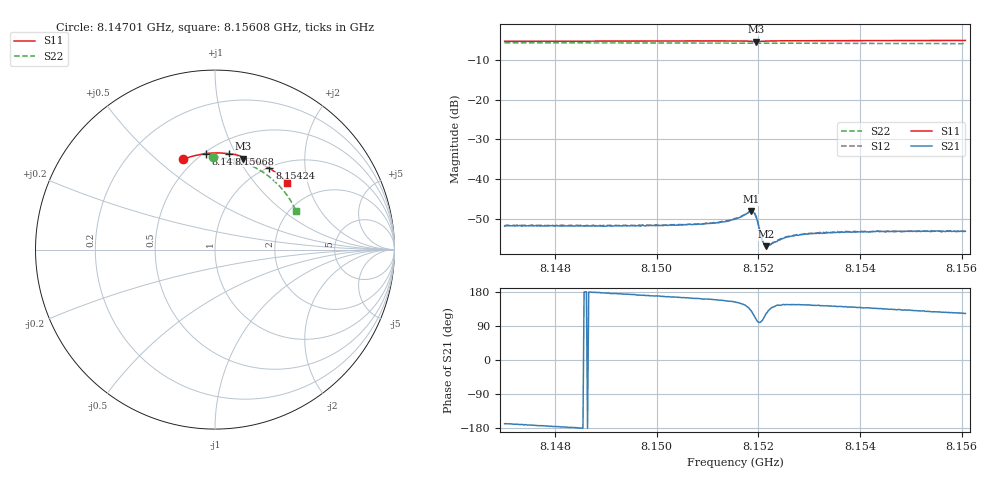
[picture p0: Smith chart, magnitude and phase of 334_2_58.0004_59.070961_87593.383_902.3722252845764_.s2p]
#  HZ  S  RI  R  50.00
! Rohde & Schwarz Vector Network Analyzer
! Rohde-Schwarz,ZNB20-2Port,1311601062101988,3.16
! Created: UTC 3/21/2024, 1:05:14 AM
! freq[Hz]  re:S11  im:S11  re:S21  im:S21  re:S12  im:S12  re:S22  im:S22
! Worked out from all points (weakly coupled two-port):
!   401 points, 8.14701 GHz to 8.15608 GHz, reference 50 ohm
!   highest |S21| = -47.92 dB at 8.15186 GHz (marker M1); lowest = -56.7 dB at 8.15216 GHz (marker M2)
!   lowest |S11| = -5.5 dB at 8.15195 GHz (marker M3), VSWR 3.26, Z = 37.2 + j52.4 ohm
!   |S11| at or under -10 dB: nowhere
!   |S22| runs from -6.0 to -5.8 dB; largest |S21 - S12| = 0.00012
!   S11 on the Smith chart (normalised r, x): 8.14701 GHz: 0.44, +0.62; 8.14885 GHz: 0.51, +0.77; 8.15068 GHz: 0.62, +0.94; 8.15424 GHz: 1.02, +1.31; 8.15608 GHz: 1.40, +1.50
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8.14701e9  -0.1762 0.5039  -0.00255 -0.000529  -0.00263 -0.000513  -0.00876 0.5134
8.148529e9  -0.0739 0.5315  -0.00263 -1.25e-05  -0.00268 5.61e-05  0.09 0.5039
8.148846e9  -0.052 0.5348  -0.0026 9.05e-05  -0.00262 0.000138  0.1099 0.4995
8.150047e9  0.0317 0.5384  -0.0026 0.000505  -0.0026 0.000567  0.1838 0.4754
8.150682e9  0.0757 0.535  -0.00262 0.000779  -0.00261 0.000825  0.2209 0.4585
8.15118e9  0.1107 0.5296  -0.00268 0.00105  -0.00269 0.00111  0.2489 0.443
8.151543e9  0.1364 0.5233  -0.00285 0.00143  -0.00286 0.00152  0.2685 0.4308
8.15186e9  0.158 0.5106  -0.00257 0.00309  -0.00251 0.00311  0.285 0.4191
8.151906e9  0.1586 0.5075  -0.00194 0.00339  -0.00194 0.00347  0.2872 0.4174
8.151951e9  0.1577 0.5064  -0.00112 0.0033  -0.00108 0.00337  0.2894 0.4156
8.152087e9  0.1621 0.5112  -0.000454 0.00164  -0.00044 0.00163  0.2962 0.4107
8.152132e9  0.1657 0.512  -0.000683 0.00136  -0.00066 0.00136  0.2985 0.4091
8.152155e9  0.1676 0.512  -0.000785 0.00124  -0.000739 0.00128  0.2999 0.4084
8.1522e9  0.1713 0.5119  -0.000977 0.00114  -0.000926 0.00116  0.302 0.4065
8.15245e9  0.1903 0.5077  -0.00148 0.00104  -0.00147 0.00104  0.3145 0.3966
8.152563e9  0.198 0.5052  -0.00159 0.00106  -0.0016 0.00107  0.3199 0.3919
8.152744e9  0.2103 0.5007  -0.00166 0.00112  -0.00167 0.00115  0.3286 0.3844
8.153062e9  0.231 0.4921  -0.00171 0.00122  -0.0017 0.00124  0.3432 0.3706
8.153764e9  0.2749 0.4706  -0.0017 0.00146  -0.00166 0.00142  0.3735 0.3385
8.15424e9  0.3029 0.4535  -0.00161 0.00152  -0.00161 0.00155  0.3921 0.315
8.15458e9  0.3226 0.4405  -0.00154 0.00161  -0.00157 0.00163  0.4048 0.2978
8.156076e9  0.4008 0.3737  -0.00121 0.00189  -0.00122 0.00188  0.4505 0.2167
